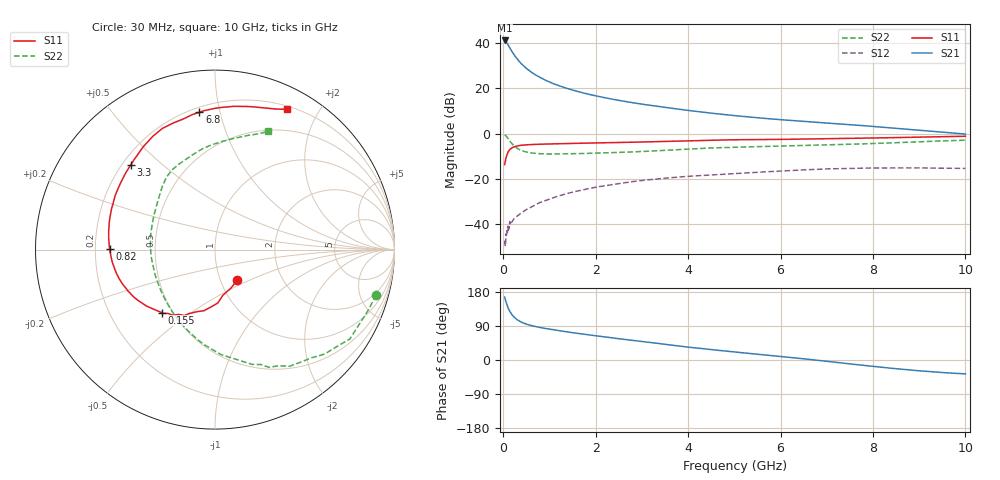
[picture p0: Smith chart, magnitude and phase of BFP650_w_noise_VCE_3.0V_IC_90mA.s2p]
! Infineon Technologies  Discrete & RF Semiconductors
! BFP650
! VCE =  3.0 V,  IC =  90 mA
! Common Emitter S-Parameters:  Jan 2016
# GHz  S  MA  R  50
!  f  S11  S21  S12  S22
! GHz  MAG  ANG  MAG  ANG  MAG  ANG  MAG  ANG
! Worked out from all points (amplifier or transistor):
!   229 points, 30 MHz to 10 GHz, reference 50 ohm
!   highest |S21| = 41.2 dB at 30 MHz (marker M1)
!   |S21| within 3 dB of that: start of sweep to 133.4 MHz
!   unconditionally stable (mu >= 1): 1.358 GHz to end of sweep
!   at 280 MHz: K = 0.62, MSG = 35.1 dB, |S12| = -36.7 dB
!   at 1.78 GHz: K = 1.02, MAG = 20.3 dB, |S12| = -24.5 dB
!   at 10 GHz: K = 1.03, MAG = 6.6 dB, |S12| = -15.3 dB
!   lowest NFmin = 1.34 dB at 450 MHz
!   S11 on the Smith chart (normalised r, x): 30 MHz: 1.21, -0.42; 155 MHz: 0.44, -0.39; 820 MHz: 0.26, +0.00; 3.3 GHz: 0.23, +0.40; 6.8 GHz: 0.23, +0.87; 10 GHz: 0.24, +1.61
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0.03  0.2092 -53.2  114.2 166.3  0.0044 102.3  0.9335 -15.7
0.05  0.2577 -80.1  109.2 157.1  0.0033 78.7  0.9049 -27.6
0.06  0.2969 -86.8  107.4 153.4  0.0062 75.4  0.9013 -33.6
0.08  0.3466 -100.4  100.2 145.7  0.0072 74.5  0.8437 -43.6
0.11  0.4051 -114.9  89.17 136.3  0.0074 69.9  0.7714 -57.4
0.13  0.4353 -122.9  81.91 131.0  0.008 67.0  0.721 -65.4
0.155  0.4599 -130.2  74.24 125.9  0.01 63.3  0.6622 -73.3
0.2  0.495 -140.6  62.38 117.7  0.0118 59.9  0.5856 -86.8
0.24  0.5156 -147.1  54.3 112.6  0.0136 59.4  0.5351 -96.0
0.3  0.5367 -154.6  44.78 106.4  0.0152 57.9  0.4788 -107.9
0.36  0.5504 -159.9  37.96 102.0  0.0169 60.7  0.4424 -117.5
0.45  0.5638 -166.0  30.68 96.9  0.0197 58.7  0.407 -129.0
0.6  0.577 -173.2  23.09 91.0  0.0238 62.4  0.3773 -143.5
0.82  0.5876 179.5  16.9 85.1  0.031 61.5  0.3608 -158.4
1.2  0.6011 170.2  11.49 77.4  0.0425 60.4  0.3575 -175.0
1.7  0.616 160.4  8.09 68.9  0.0567 56.5  0.3649 170.5
3.3  0.6658 134.7  4.068 44.5  0.0996 39.6  0.4186 139.4
3.4  0.6699 133.3  3.932 42.9  0.102 38.5  0.4238 137.9
5.1  0.7369 112.5  2.453 20.1  0.1339 20.9  0.5065 117.3
6.8  0.7701 96.5  1.789 -0.7  0.1639 3.5  0.559 98.8
8.4  0.8176 77.2  1.34 -21.8  0.1759 -14.4  0.6273 80.6
10  0.8785 62.8  0.983 -36.6  0.1715 -27.2  0.7208 66.0
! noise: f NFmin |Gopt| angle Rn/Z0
0.45  1.34  0.53  -171  0.06
0.9  1.36  0.54  -165  0.07
1.9  1.5  0.57  -150  0.09
2.4  1.59  0.56  -141  0.12
3.5  1.78  0.56  -118  0.22
